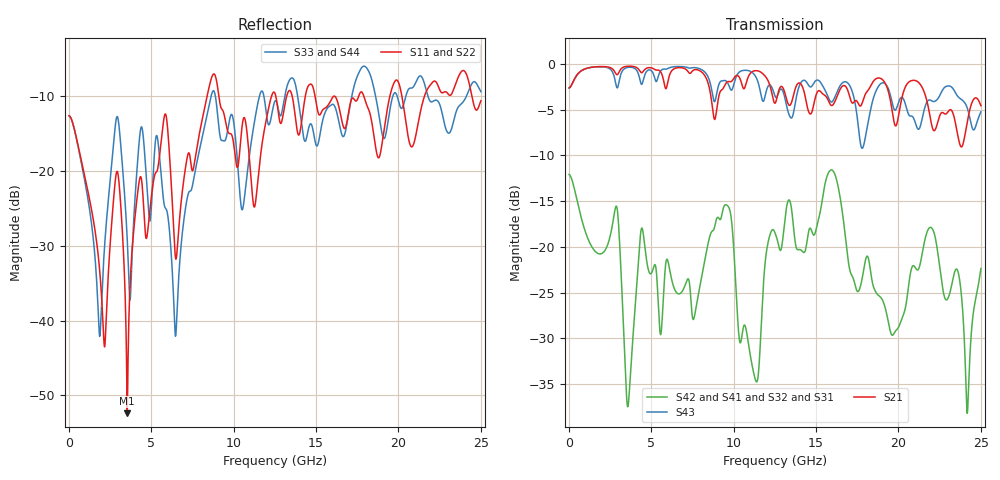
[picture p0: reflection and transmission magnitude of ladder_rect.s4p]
! R_s4_rect_2v: kisi's ladders coupled through the finite cavity (rect) (Finite board 24 × 16 mm, two vias L1 → L4 9.9 mm apart sharing the L2/L3 cavity, no return via)
# Hz S RI R 50
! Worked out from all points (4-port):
!   1000 points, 25 MHz to 25 GHz, reference 50 ohm
!   strongest paths, dB at 25 MHz, 6.275 GHz, 12.53 GHz, 18.77 GHz, 25 GHz:
!     S21: -2.6, -0.7, -4.3, -1.5, -4.6
!     S43: -2.6, -0.3, -3.6, -2.5, -5.2
!     S42: -12.1, -23.8, -18.5, -25.3, -22.4
!     S41: -12.1, -23.8, -18.5, -25.3, -22.4
!     S32: -12.1, -23.8, -18.5, -25.3, -22.4
!     S31: -12.1, -23.8, -18.6, -25.3, -22.4
!   lowest |S11| = -52.4 dB at 3.55 GHz (marker M1), VSWR 1.00, Z = 50.2 - j0.0505 ohm
!   |S11| at or under -10 dB: start of sweep to 8.39 GHz; 9.111 GHz to 12.3 GHz (3.185 GHz wide, 29.8 % of centre); 17.9 GHz to 19.47 GHz (1.571 GHz wide, 8.41 % of centre) (the widest 3 of 9)
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2.5e7  0.2346 -0.0124  0.7384 0.0104  0.2481 -0.0132  -0.2481 0.0132
       0.7384 0.0104  0.2346 -0.0124  -0.2481 0.0132  0.2481 -0.0132
       0.2481 -0.0132  -0.2481 0.0132  0.2346 -0.0123  0.7384 0.0103
       -0.2481 0.0132  0.2481 -0.0132  0.7384 0.0103  0.2346 -0.0123
1.875e9  0.00294 -0.0217  0.9582 -0.13  -0.0061 -0.0912  0.0058 0.0913
         0.9582 -0.13  0.00298 -0.0216  0.0058 0.0913  -0.0055 -0.0913
         -0.0061 -0.0912  0.0058 0.0913  0.00759 -0.00197  0.9536 -0.1498
         0.0058 0.0913  -0.0055 -0.0913  0.9536 -0.1498  0.0075 -0.00189
3.55e9  0.00234 -0.000503  0.9288 -0.2834  -0.0133 0.00316  0.0133 -0.00307
        0.9288 -0.2834  0.00201 -0.000351  0.0133 -0.00307  -0.0134 0.00299
        -0.0133 0.00316  0.0133 -0.00307  0.00781 -0.0341  0.9231 -0.2495
        0.0133 -0.00307  -0.0134 0.00299  0.9231 -0.2495  0.00791 -0.0339
5.825e9  0.2377 -0.0183  0.6185 -0.4365  0.0634 -0.0307  -0.0637 0.0301
         0.6185 -0.4365  0.2374 -0.013  -0.0637 0.0301  0.064 -0.0295
         0.0634 -0.0307  -0.0637 0.0301  0.0131 -0.0562  0.8488 -0.3956
         -0.0637 0.0301  0.064 -0.0295  0.8488 -0.3956  0.0135 -0.0555
6.5e9  0.0246 -0.00765  0.8115 -0.4923  -0.0257 -0.0507  0.0251 0.051
       0.8115 -0.4923  0.0238 -0.00651  0.0251 0.051  -0.0245 -0.0513
       -0.0257 -0.0507  0.0251 0.051  0.00792 -0.00153  0.8287 -0.4984
       0.0251 0.051  -0.0245 -0.0513  0.8287 -0.4984  0.00701 -0.000766
8.775e9  0.4031 -0.1907  0.2888 -0.4409  -0.0949 0.0783  0.0962 -0.077
         0.2888 -0.4409  0.4081 -0.1775  0.0962 -0.077  -0.0974 0.0756
         -0.0949 0.0783  0.0962 -0.077  0.323 -0.1228  0.3821 -0.517
         0.0962 -0.077  -0.0974 0.0756  0.3821 -0.517  0.3258 -0.112
2.5e10  -0.0146 -0.2959  -0.1987 -0.5572  0.0316 0.069  -0.0289 -0.0703
        -0.1987 -0.5572  0.00837 -0.294  -0.0289 -0.0703  0.0262 0.0714
        0.0316 0.069  -0.0289 -0.0703  -0.1012 -0.3255  -0.0681 -0.543
        -0.0289 -0.0703  0.0262 0.0714  -0.0681 -0.543  -0.0759 -0.3302
